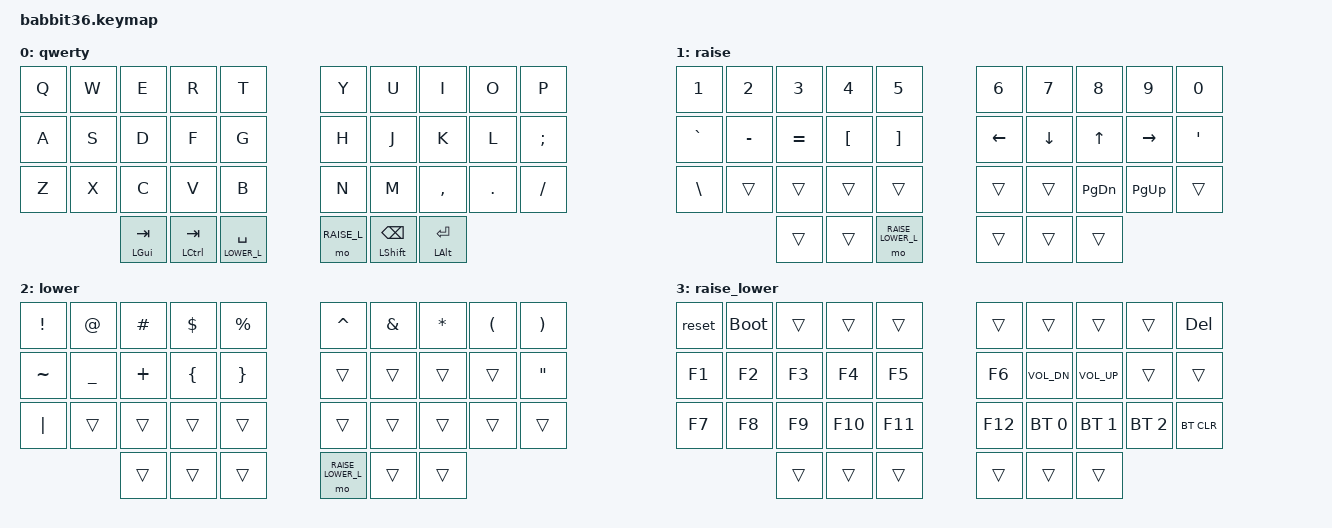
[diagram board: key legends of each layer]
#include <behaviors.dtsi>
#include <dt-bindings/zmk/keys.h>
#include <dt-bindings/zmk/bt.h>
#include <dt-bindings/zmk/outputs.h>

#define RAISE_L 1
#define LOWER_L 2
#define RAISE_LOWER_L 3

// Using layer taps on thumbs, having quick tap as well helps w/ repeating space/backspace
&lt { quick_tap_ms = <200>; };

/ {
    behaviors {
        hm: homerow_mods {
            compatible = "zmk,behavior-hold-tap";
            label = "homerow mods";
            #binding-cells = <2>;
            tapping_term_ms = <200>;
            quick-tap-ms = <200>;
            flavor = "tap-preferred";
            bindings = <&kp>, <&kp>;
        };
    };

    keymap {
        compatible = "zmk,keymap";

        qwerty_layer {
            label = "qwerty";
            bindings = <
                &kp Q      &kp W      &kp E         &kp R          &kp T             &kp Y            &kp U          &kp I       &kp O      &kp P
                &kp A      &kp S      &kp D         &kp F          &kp G             &kp H            &kp J          &kp K       &kp L      &kp SEMI
                &kp Z      &kp X      &kp C         &kp V          &kp B             &kp N            &kp M          &kp COMMA   &kp DOT    &kp FSLH
                                      &hm LGUI TAB  &hm LCTRL TAB  &lt LOWER_L SPACE &mo RAISE_L      &hm LSHFT BKSP &hm LALT RET 
            >;
        };

        raise_layer {
            label = "raise";
            bindings = <
                &kp N1     &kp N2     &kp N3      &kp N4          &kp N5             &kp N6           &kp N7         &kp N8      &kp N9     &kp N0
                &kp GRAVE  &kp MINUS  &kp EQUAL   &kp LBKT        &kp RBKT           &kp LEFT         &kp DOWN       &kp UP      &kp RIGHT  &kp SQT
                &kp BSLH   &trans     &trans      &trans          &trans             &trans           &trans      &kp PG_DN   &kp PG_UP  &trans
                                      &trans      &trans          &mo RAISE_LOWER_L  &trans           &trans      &trans 
            >;
        };

        lower_layer {
            label = "lower";
            bindings = <
                &kp EXCL   &kp AT     &kp HASH    &kp DOLLAR      &kp PERCENT        &kp CARET         &kp AMPS       &kp STAR     &kp LPAR     &kp RPAR
                &kp TILDE  &kp UNDER  &kp PLUS    &kp LBRC        &kp RBRC           &trans            &trans         &trans       &trans       &kp DQT
                &kp PIPE   &trans     &trans      &trans          &trans             &trans            &trans         &trans       &trans       &trans
                                      &trans      &trans          &trans             &mo RAISE_LOWER_L &trans         &trans
            >;
        };

        raise_lower_layer {
            label = "raise_lower";
            bindings = <
                &reset     &bootloader &trans      &trans         &trans     &trans          &trans         &trans       &trans       &kp DEL
                &kp F1     &kp F2      &kp F3      &kp F4         &kp F5     &kp F6          &kp C_VOL_DN   &kp C_VOL_UP &trans       &trans
                &kp F7     &kp F8      &kp F9      &kp F10        &kp F11    &kp F12         &bt BT_SEL 0   &bt BT_SEL 1 &bt BT_SEL 2 &bt BT_CLR
                                       &trans      &trans         &trans     &trans          &trans         &trans
            >;
        };
    };
};
